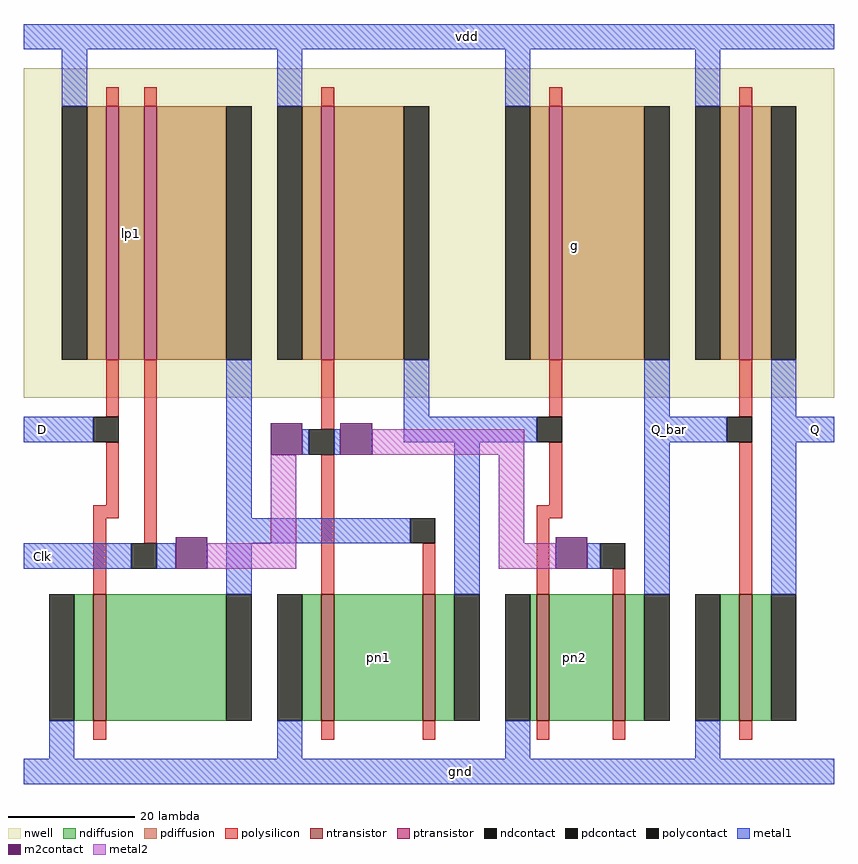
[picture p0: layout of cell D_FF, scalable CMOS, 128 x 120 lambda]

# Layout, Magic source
magic
tech scmos
<< nwell >>
rect -2 12 126 64
<< ntransistor >>
rect 9 -39 11 -19
rect 45 -39 47 -19
rect 61 -39 63 -19
rect 79 -39 81 -19
rect 91 -39 93 -19
rect 111 -39 113 -19
<< ptransistor >>
rect 11 18 13 58
rect 17 18 19 58
rect 45 18 47 58
rect 81 18 83 58
rect 111 18 113 58
<< ndiffusion >>
rect 6 -39 9 -19
rect 11 -39 30 -19
rect 42 -39 45 -19
rect 47 -39 61 -19
rect 63 -39 66 -19
rect 78 -39 79 -19
rect 81 -39 91 -19
rect 93 -39 96 -19
rect 108 -39 111 -19
rect 113 -39 116 -19
<< pdiffusion >>
rect 8 18 11 58
rect 13 18 17 58
rect 19 18 30 58
rect 42 18 45 58
rect 47 18 58 58
rect 78 18 81 58
rect 83 18 96 58
rect 108 18 111 58
rect 113 18 116 58
<< ndcontact >>
rect 2 -39 6 -19
rect 30 -39 34 -19
rect 38 -39 42 -19
rect 66 -39 70 -19
rect 74 -39 78 -19
rect 96 -39 100 -19
rect 104 -39 108 -19
rect 116 -39 120 -19
<< pdcontact >>
rect 4 18 8 58
rect 30 18 34 58
rect 38 18 42 58
rect 58 18 62 58
rect 74 18 78 58
rect 96 18 100 58
rect 104 18 108 58
rect 116 18 120 58
<< polysilicon >>
rect 11 58 13 61
rect 17 58 19 61
rect 45 58 47 61
rect 81 58 83 61
rect 111 58 113 61
rect 11 9 13 18
rect 11 -5 13 5
rect 9 -7 13 -5
rect 9 -19 11 -7
rect 17 -11 19 18
rect 45 7 47 18
rect 81 9 83 18
rect 111 9 113 18
rect 45 -19 47 3
rect 81 -5 83 5
rect 79 -7 83 -5
rect 61 -19 63 -11
rect 79 -19 81 -7
rect 91 -19 93 -15
rect 111 -19 113 5
rect 9 -42 11 -39
rect 45 -42 47 -39
rect 61 -42 63 -39
rect 79 -42 81 -39
rect 91 -42 93 -39
rect 111 -42 113 -39
<< polycontact >>
rect 9 5 13 9
rect 43 3 47 7
rect 79 5 83 9
rect 109 5 113 9
rect 15 -15 19 -11
rect 59 -11 63 -7
rect 89 -15 93 -11
<< metal1 >>
rect -2 67 126 71
rect 4 58 8 67
rect 38 58 42 67
rect 74 58 78 67
rect 104 58 108 67
rect -2 5 9 9
rect 30 -7 34 18
rect 58 9 62 18
rect 96 9 100 18
rect 116 9 120 18
rect 42 3 43 7
rect 47 3 48 7
rect 58 5 79 9
rect 96 5 109 9
rect 116 5 126 9
rect -2 -15 15 -11
rect 19 -15 22 -11
rect 30 -11 59 -7
rect 30 -19 34 -11
rect 66 -19 70 5
rect 87 -15 89 -11
rect 96 -19 100 5
rect 116 -19 120 5
rect 2 -45 6 -39
rect 38 -45 42 -39
rect 74 -45 78 -39
rect 104 -45 108 -39
rect -2 -49 126 -45
<< m2contact >>
rect 37 3 42 8
rect 48 3 53 8
rect 22 -15 27 -10
rect 82 -15 87 -10
<< metal2 >>
rect 53 3 77 7
rect 37 -11 41 3
rect 27 -15 41 -11
rect 73 -11 77 3
rect 73 -15 82 -11
<< labels >>
rlabel metal1 1 7 1 7 3 D
rlabel metal1 67 -47 67 -47 1 gnd
rlabel metal1 68 69 68 69 5 vdd
rlabel pdiffusion 85 36 85 36 1 g
rlabel metal1 100 7 100 7 1 Q_bar
rlabel metal1 123 7 123 7 7 Q
rlabel metal1 1 -13 1 -13 3 Clk
rlabel pdiffusion 15 38 15 38 1 lp1
rlabel ndiffusion 54 -29 54 -29 1 pn1
rlabel pdiffusion 85 36 85 36 1 lp2
rlabel ndiffusion 85 -29 85 -29 1 pn2
<< end >>
